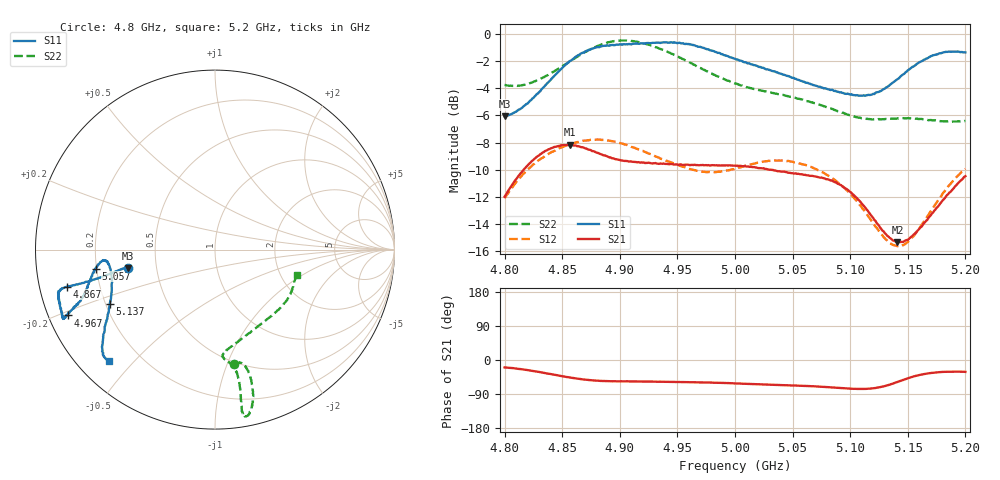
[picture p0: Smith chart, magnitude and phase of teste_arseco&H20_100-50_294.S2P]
! Network Analyzer HP8722D
! Hewlett-Packard
! Data name: Linha & Wilkinson
! Saver's name: Rodrigo Anjos
! Comments: Teste da utilização de aquisição
! continua pelo VNA HP8722D
! Time and date: 6/5/2025 15:01
!  Frequency  S11  S21  S12  S22
# HZ  S  MA R 50
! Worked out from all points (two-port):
!   401 points, 4.8 GHz to 5.2 GHz, reference 50 ohm
!   highest |S21| = -8.16 dB at 4.857 GHz (marker M1); lowest = -15.3 dB at 5.141 GHz (marker M2)
!   |S21| within 3 dB of the highest: 4.806 GHz to 5.093 GHz (286.6 MHz wide, 5.79 % of centre); 5.191697 GHz to end of sweep
!   lowest |S11| = -6.1 dB at 4.8 GHz (marker M3), VSWR 2.97, Z = 17 - j4.61 ohm
!   |S11| at or under -10 dB: nowhere
!   |S22| runs from -6.5 to -0.5 dB; largest |S21 - S12| = 0.62
!   S11 on the Smith chart (normalised r, x): 4.8 GHz: 0.34, -0.09; 4.867 GHz: 0.08, -0.12; 4.967 GHz: 0.06, -0.21; 5.057 GHz: 0.20, -0.08; 5.137 GHz: 0.22, -0.23; 5.2 GHz: 0.09, -0.43
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4.8e9  0.4966 -168.1  0.2519 -19.6  0.2487 -140.9  0.6483 -80.4
4.829e9  0.6035 -166.9  0.3556 -31.2  0.3414 -145.0  0.6768 -75.3
4.857e9  0.7953 -165.9  0.3907 -46.4  0.3931 -150.2  0.7924 -74.8
4.867e9  0.8493 -166.0  0.3826 -50.8  0.403 -152.0  0.842 -75.4
4.879e9  0.8896 -165.6  0.367 -54.3  0.4078 -154.0  0.8943 -76.6
4.899e9  0.9119 -162.9  0.3445 -56.5  0.3977 -156.7  0.9436 -79.1
4.914e9  0.9197 -159.7  0.3378 -56.5  0.3786 -157.1  0.9366 -80.3
4.934e9  0.928 -156.4  0.3326 -57.4  0.3505 -155.6  0.8831 -80.5
4.967e9  0.8996 -155.9  0.3293 -58.8  0.3137 -147.9  0.7577 -79.6
5e9  0.8093 -158.9  0.3275 -61.8  0.3198 -137.2  0.6568 -81.3
5.031e9  0.734 -164.5  0.3169 -65.5  0.3412 -134.3  0.6084 -85.3
5.057e9  0.6718 -171.0  0.3045 -68.0  0.3332 -135.9  0.5749 -84.7
5.067e9  0.6508 -173.0  0.3006 -69.1  0.3231 -136.8  0.5595 -82.7
5.083e9  0.621 -174.5  0.2889 -72.2  0.297 -138.2  0.532 -76.9
5.1e9  0.5979 -172.2  0.2623 -75.6  0.2584 -138.8  0.503 -67.2
5.116e9  0.5966 -165.4  0.2212 -75.8  0.2126 -135.6  0.4857 -55.8
5.134e9  0.646 -154.2  0.1784 -65.3  0.1705 -120.7  0.4879 -43.3
5.137e9  0.6613 -152.5  0.174 -62.3  0.1676 -117.0  0.4881 -41.4
5.141e9  0.6812 -150.2  0.1715 -58.0  0.1658 -111.7  0.4892 -39.1
5.154e9  0.756 -144.5  0.1808 -44.5  0.179 -95.0  0.4886 -32.3
5.172e9  0.8336 -139.0  0.2206 -33.6  0.2299 -81.1  0.4802 -24.5
5.2e9  0.8538 -133.6  0.2997 -31.4  0.319 -76.7  0.4773 -17.6
